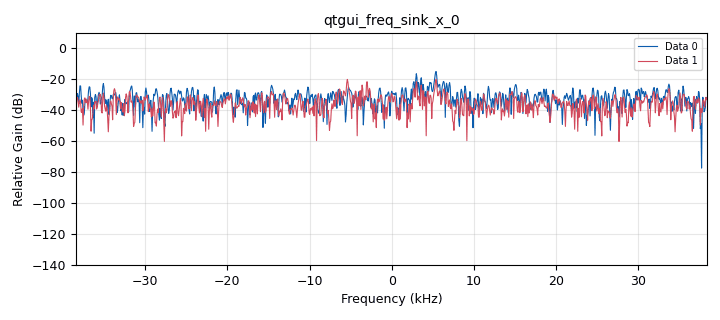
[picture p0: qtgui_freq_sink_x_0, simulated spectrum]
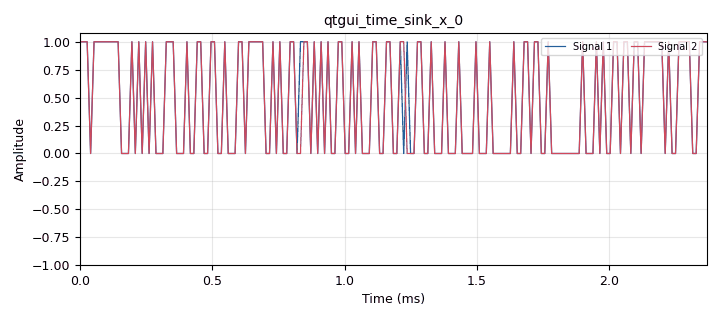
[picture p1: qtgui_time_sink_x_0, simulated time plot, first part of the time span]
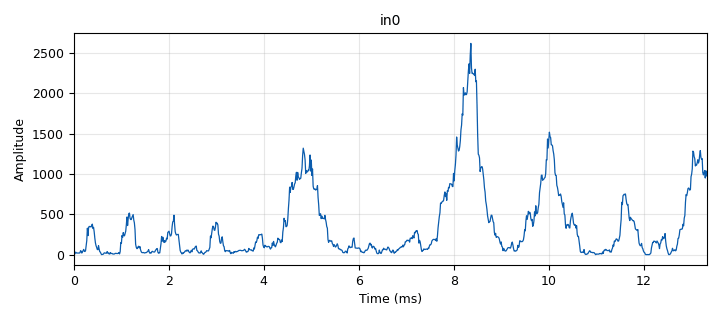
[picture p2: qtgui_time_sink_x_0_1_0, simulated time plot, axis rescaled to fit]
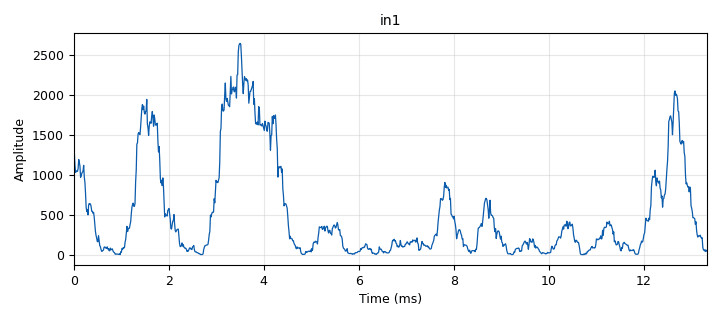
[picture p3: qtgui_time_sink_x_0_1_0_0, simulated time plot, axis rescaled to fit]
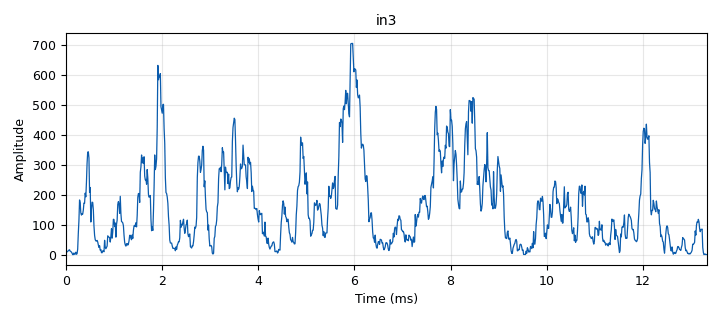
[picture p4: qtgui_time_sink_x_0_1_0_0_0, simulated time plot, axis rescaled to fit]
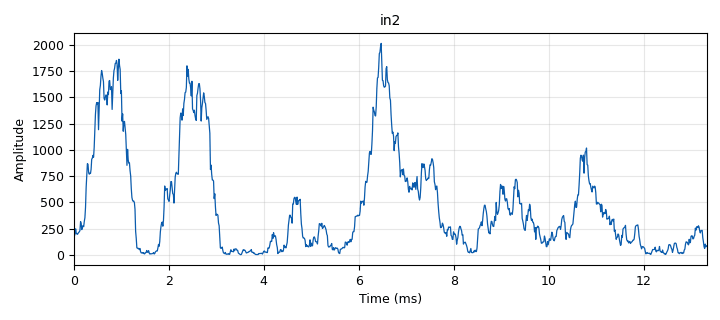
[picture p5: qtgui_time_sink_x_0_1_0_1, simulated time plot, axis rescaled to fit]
options:
  parameters:
    author: Abrar Ahmad
    generate_options: qt_gui
    id: ECE512_Lab3
    output_language: python
    title: BFSK-Tx
  states: {}

blocks:
- name: EsN0_dB
  id: variable
  parameters:
    value: '10'
  states: {}
- name: deviation
  id: variable
  parameters:
    value: symbol_rate/2
  states: {}
- name: fc
  id: variable
  parameters:
    value: '4800'
  states: {}
- name: samp_rate
  id: variable
  parameters:
    value: '76800'
  states: {}
- name: sig_pwr
  id: variable
  parameters:
    value: '1'
  states: {}
- name: symbol_rate
  id: variable
  parameters:
    value: '1200'
  states: {}
- name: analog_const_source_x_0
  id: analog_const_source_x
  parameters:
    const: '0'
    type: byte
  states: {state: disabled}
- name: analog_const_source_x_1
  id: analog_const_source_x
  parameters:
    const: '0'
    type: float
  states: {}
- name: analog_frequency_modulator_fc_0
  id: analog_frequency_modulator_fc
  parameters:
    sensitivity: 2*math.pi*deviation/samp_rate
  states: {}
- name: analog_noise_source_x_1
  id: analog_noise_source_x
  parameters:
    amp: math.sqrt( sig_pwr/ (10**(EsN0_dB/10)) * samp_rate/symbol_rate * 1/2)
    noise_type: analog.GR_GAUSSIAN
    seed: '0'
    type: complex
  states: {}
- name: analog_sig_source_x_0
  id: analog_sig_source_x
  parameters:
    amp: '1'
    freq: fc-3*deviation
    offset: '0'
    phase: '0'
    samp_rate: samp_rate
    type: complex
    waveform: analog.GR_COS_WAVE
  states: {}
- name: analog_sig_source_x_0_0
  id: analog_sig_source_x
  parameters:
    amp: '1'
    freq: fc-1*deviation
    offset: '0'
    phase: '0'
    samp_rate: samp_rate
    type: complex
    waveform: analog.GR_COS_WAVE
  states: {}
- name: analog_sig_source_x_0_0_0
  id: analog_sig_source_x
  parameters:
    amp: '1'
    freq: fc+3*deviation
    offset: '0'
    phase: '0'
    samp_rate: samp_rate
    type: complex
    waveform: analog.GR_COS_WAVE
  states: {}
- name: analog_sig_source_x_0_1
  id: analog_sig_source_x
  parameters:
    amp: '1'
    freq: fc+deviation
    offset: '0'
    phase: '0'
    samp_rate: samp_rate
    type: complex
    waveform: analog.GR_COS_WAVE
  states: {}
- name: analog_sig_source_x_1
  id: analog_sig_source_x
  parameters:
    amp: '1'
    freq: fc
    offset: '0'
    phase: '0'
    samp_rate: samp_rate
    type: complex
    waveform: analog.GR_COS_WAVE
  states: {}
- name: blocks_add_xx_0
  id: blocks_add_xx
  parameters:
    type: complex
  states: {}
- name: blocks_char_to_float_0_0
  id: blocks_char_to_float
  parameters:
    scale: '1'
  states: {}
- name: blocks_char_to_float_0_0_0
  id: blocks_char_to_float
  parameters:
    scale: '1'
  states: {}
- name: blocks_char_to_float_0_0_0_0
  id: blocks_char_to_float
  parameters:
    scale: '1'
  states: {}
- name: blocks_char_to_float_1_0
  id: blocks_char_to_float
  parameters:
    scale: '1'
  states: {state: disabled}
- name: blocks_complex_to_mag_squared_0
  id: blocks_complex_to_mag_squared
  parameters: {}
  states: {}
- name: blocks_complex_to_mag_squared_0_0
  id: blocks_complex_to_mag_squared
  parameters: {}
  states: {}
- name: blocks_complex_to_mag_squared_0_0_0
  id: blocks_complex_to_mag_squared
  parameters: {}
  states: {}
- name: blocks_complex_to_mag_squared_0_0_0_0
  id: blocks_complex_to_mag_squared
  parameters: {}
  states: {}
- name: blocks_complex_to_real_0
  id: blocks_complex_to_real
  parameters: {}
  states: {}
- name: blocks_float_to_complex_0
  id: blocks_float_to_complex
  parameters: {}
  states: {}
- name: blocks_keep_one_in_n_0
  id: blocks_keep_one_in_n
  parameters:
    n: int(samp_rate/symbol_rate)
    type: float
  states: {}
- name: blocks_keep_one_in_n_0_0
  id: blocks_keep_one_in_n
  parameters:
    n: int(samp_rate/symbol_rate)
    type: float
  states: {}
- name: blocks_keep_one_in_n_1
  id: blocks_keep_one_in_n
  parameters:
    n: int(samp_rate/symbol_rate)
    type: float
  states: {}
- name: blocks_keep_one_in_n_1_0
  id: blocks_keep_one_in_n
  parameters:
    n: int(samp_rate/symbol_rate)
    type: float
  states: {}
- name: blocks_moving_average_xx_0
  id: blocks_moving_average_xx
  parameters:
    length: int(samp_rate/symbol_rate)
    max_iter: '4000'
    scale: '1'
    type: complex
  states: {}
- name: blocks_moving_average_xx_0_0
  id: blocks_moving_average_xx
  parameters:
    length: int(samp_rate/symbol_rate)
    max_iter: '4000'
    scale: '1'
    type: complex
  states: {}
- name: blocks_moving_average_xx_0_0_0
  id: blocks_moving_average_xx
  parameters:
    length: int(samp_rate/symbol_rate)
    max_iter: '4000'
    scale: '1'
    type: complex
  states: {}
- name: blocks_moving_average_xx_0_1
  id: blocks_moving_average_xx
  parameters:
    length: int(samp_rate/symbol_rate)
    max_iter: '4000'
    scale: '1'
    type: complex
  states: {}
- name: blocks_multiply_xx_0
  id: blocks_multiply_xx
  parameters:
    type: complex
  states: {}
- name: blocks_multiply_xx_0_0
  id: blocks_multiply_xx
  parameters:
    type: complex
  states: {}
- name: blocks_multiply_xx_0_0_0
  id: blocks_multiply_xx
  parameters:
    type: complex
  states: {}
- name: blocks_multiply_xx_0_1
  id: blocks_multiply_xx
  parameters:
    type: complex
  states: {}
- name: blocks_multiply_xx_1
  id: blocks_multiply_xx
  parameters:
    type: complex
  states: {}
- name: blocks_not_xx_0
  id: blocks_not_xx
  parameters:
    type: byte
  states: {state: disabled}
- name: blocks_null_sink_0
  id: blocks_null_sink
  parameters:
    type: float
  states: {}
- name: blocks_pack_k_bits_bb_0
  id: blocks_pack_k_bits_bb
  parameters:
    k: '8'
  states: {}
- name: blocks_pack_k_bits_bb_0_0
  id: blocks_pack_k_bits_bb
  parameters:
    k: '8'
  states: {}
- name: blocks_pack_k_bits_bb_0_1
  id: blocks_pack_k_bits_bb
  parameters:
    k: '2'
  states: {}
- name: blocks_repeat_0
  id: blocks_repeat
  parameters:
    interp: int(samp_rate/symbol_rate)
    type: float
  states: {}
- name: blocks_repeat_1
  id: blocks_repeat
  parameters:
    interp: int(samp_rate/symbol_rate)
    type: float
  states: {state: disabled}
- name: blocks_repeat_1_0
  id: blocks_repeat
  parameters:
    interp: int(samp_rate/symbol_rate)
    type: byte
  states: {state: disabled}
- name: blocks_sub_xx_0
  id: blocks_sub_xx
  parameters:
    type: float
  states: {state: disabled}
- name: blocks_throttle2_1
  id: blocks_throttle2
  parameters:
    samples_per_second: samp_rate
    type: complex
  states: {}
- name: blocks_unpack_k_bits_bb_0
  id: blocks_unpack_k_bits_bb
  parameters:
    k: '8'
  states: {}
- name: blocks_unpack_k_bits_bb_0_0
  id: blocks_unpack_k_bits_bb
  parameters:
    k: '8'
  states: {}
- name: blocks_unpack_k_bits_bb_0_1
  id: blocks_unpack_k_bits_bb
  parameters:
    k: '2'
  states: {}
- name: blocks_unpack_k_bits_bb_0_1_0
  id: blocks_unpack_k_bits_bb
  parameters:
    k: '2'
  states: {state: disabled}
- name: digital_binary_slicer_fb_0
  id: digital_binary_slicer_fb
  parameters: {}
  states: {state: disabled}
- name: digital_glfsr_source_x_0
  id: digital_glfsr_source_x
  parameters:
    degree: '20'
    mask: '0'
    repeat: 'True'
    seed: '1'
    type: byte
  states: {}
- name: digital_map_bb_0
  id: digital_map_bb
  parameters:
    map: '[-3,-1,1,3]'
  states: {}
- name: epy_block_0
  id: epy_block
  parameters:
    _source_code: |
      """
      Embedded Python Blocks:

      Each time this file is saved, GRC will instantiate the first class it finds
      to get ports and parameters of your block. The arguments to __init__  will
      be the parameters. All of them are required to have default values!
      """

      import numpy as np
      from gnuradio import gr


      class blk(gr.sync_block):  # other base classes are basic_block, decim_block, interp_block
          """Embedded Python Block example - a simple multiply const"""

          def __init__(self, example_param=1.0):  # only default arguments here
              """arguments to this function show up as parameters in GRC"""
              gr.sync_block.__init__(
                  self,
                  name='Embedded Python Block',   # will show up in GRC
                  in_sig=[np.float32, np.float32, np.float32, np.float32],
                  out_sig=[np.float32, np.byte]
              )
              # if an attribute with the same name as a parameter is found,
              # a callback is registered (properties work, too).
              self.example_param = example_param

          def work(self, input_items, output_items):
              # Transpose the input items to process samples from all four branches together
              inputs = np.vstack(input_items)

              # Find the maximum value and its index for each sample
              max_values = np.max(inputs, axis=0)
              max_indices = np.argmax(inputs, axis=0)

              # Assign the results to the output items
              output_items[0][:] = max_values
              output_items[1][:] = max_indices

              return len(output_items[0])
    example_param: '1.0'
  states: {}
- name: fec_ber_bf_0
  id: fec_ber_bf
  parameters:
    test_mode: 'False'
  states: {}
- name: import_0
  id: import
  parameters:
    imports: import math
  states: {}
- name: import_0_0
  id: import
  parameters:
    imports: import numpy as np
  states: {}
- name: qtgui_freq_sink_x_0
  id: qtgui_freq_sink_x
  parameters:
    bw: samp_rate
    fc: '0'
    fftsize: '1024'
    nconnections: '2'
    type: complex
  states: {}
- name: qtgui_number_sink_0
  id: qtgui_number_sink
  parameters:
    graph_type: qtgui.NUM_GRAPH_HORIZ
    type: float
  states: {}
- name: qtgui_time_sink_x_0
  id: qtgui_time_sink_x
  parameters:
    ctrlpanel: 'True'
    nconnections: '2'
    size: '1024'
    srate: samp_rate
    type: float
  states: {}
- name: qtgui_time_sink_x_0_0
  id: qtgui_time_sink_x
  parameters:
    ctrlpanel: 'True'
    nconnections: '2'
    size: '1024'
    srate: samp_rate
    type: float
  states: {state: disabled}
- name: qtgui_time_sink_x_0_1
  id: qtgui_time_sink_x
  parameters:
    ctrlpanel: 'True'
    size: '1024'
    srate: samp_rate
    type: float
  states: {state: disabled}
- name: qtgui_time_sink_x_0_1_0
  id: qtgui_time_sink_x
  parameters:
    ctrlpanel: 'True'
    name: in0
    size: '1024'
    srate: samp_rate
    type: float
  states: {}
- name: qtgui_time_sink_x_0_1_0_0
  id: qtgui_time_sink_x
  parameters:
    ctrlpanel: 'True'
    name: in1
    size: '1024'
    srate: samp_rate
    type: float
  states: {}
- name: qtgui_time_sink_x_0_1_0_0_0
  id: qtgui_time_sink_x
  parameters:
    ctrlpanel: 'True'
    name: in3
    size: '1024'
    srate: samp_rate
    type: float
  states: {}
- name: qtgui_time_sink_x_0_1_0_1
  id: qtgui_time_sink_x
  parameters:
    ctrlpanel: 'True'
    name: in2
    size: '1024'
    srate: samp_rate
    type: float
  states: {}
- name: virtual_sink_0
  id: virtual_sink
  parameters: {}
  states: {}
- name: virtual_source_0
  id: virtual_source
  parameters: {}
  states: {}

connections:
- [analog_const_source_x_0, '0', blocks_unpack_k_bits_bb_0_1_0, '0']
- [analog_const_source_x_0, '0', digital_map_bb_0, '0']
- [analog_const_source_x_1, '0', blocks_float_to_complex_0, '1']
- [analog_frequency_modulator_fc_0, '0', blocks_add_xx_0, '1']
- [analog_noise_source_x_1, '0', blocks_throttle2_1, '0']
- [analog_sig_source_x_0, '0', blocks_multiply_xx_0, '0']
- [analog_sig_source_x_0_0, '0', blocks_multiply_xx_0_0, '0']
- [analog_sig_source_x_0_0_0, '0', blocks_multiply_xx_0_0_0, '0']
- [analog_sig_source_x_0_1, '0', blocks_multiply_xx_0_1, '0']
- [analog_sig_source_x_1, '0', blocks_multiply_xx_1, '1']
- [blocks_add_xx_0, '0', blocks_multiply_xx_1, '0']
- [blocks_char_to_float_0_0, '0', blocks_repeat_0, '0']
- [blocks_char_to_float_0_0_0, '0', qtgui_time_sink_x_0, '0']
- [blocks_char_to_float_0_0_0_0, '0', qtgui_time_sink_x_0, '1']
- [blocks_char_to_float_1_0, '0', qtgui_time_sink_x_0_0, '1']
- [blocks_complex_to_mag_squared_0, '0', blocks_keep_one_in_n_1, '0']
- [blocks_complex_to_mag_squared_0, '0', qtgui_time_sink_x_0_1_0_1, '0']
- [blocks_complex_to_mag_squared_0_0, '0', blocks_keep_one_in_n_0, '0']
- [blocks_complex_to_mag_squared_0_0, '0', qtgui_time_sink_x_0_1_0, '0']
- [blocks_complex_to_mag_squared_0_0_0, '0', blocks_keep_one_in_n_1_0, '0']
- [blocks_complex_to_mag_squared_0_0_0, '0', qtgui_time_sink_x_0_1_0_0_0, '0']
- [blocks_complex_to_mag_squared_0_0_0_0, '0', blocks_keep_one_in_n_0_0, '0']
- [blocks_complex_to_mag_squared_0_0_0_0, '0', qtgui_time_sink_x_0_1_0_0, '0']
- [blocks_complex_to_real_0, '0', virtual_sink_0, '0']
- [blocks_float_to_complex_0, '0', blocks_multiply_xx_0, '1']
- [blocks_float_to_complex_0, '0', blocks_multiply_xx_0_0, '1']
- [blocks_float_to_complex_0, '0', blocks_multiply_xx_0_0_0, '1']
- [blocks_float_to_complex_0, '0', blocks_multiply_xx_0_1, '1']
- [blocks_float_to_complex_0, '0', qtgui_freq_sink_x_0, '1']
- [blocks_keep_one_in_n_0, '0', epy_block_0, '0']
- [blocks_keep_one_in_n_0_0, '0', blocks_sub_xx_0, '0']
- [blocks_keep_one_in_n_0_0, '0', epy_block_0, '1']
- [blocks_keep_one_in_n_1, '0', blocks_sub_xx_0, '1']
- [blocks_keep_one_in_n_1, '0', epy_block_0, '2']
- [blocks_keep_one_in_n_1_0, '0', epy_block_0, '3']
- [blocks_moving_average_xx_0, '0', blocks_complex_to_mag_squared_0_0, '0']
- [blocks_moving_average_xx_0_0, '0', blocks_complex_to_mag_squared_0_0_0_0, '0']
- [blocks_moving_average_xx_0_0_0, '0', blocks_complex_to_mag_squared_0_0_0, '0']
- [blocks_moving_average_xx_0_1, '0', blocks_complex_to_mag_squared_0, '0']
- [blocks_multiply_xx_0, '0', blocks_moving_average_xx_0, '0']
- [blocks_multiply_xx_0_0, '0', blocks_moving_average_xx_0_0, '0']
- [blocks_multiply_xx_0_0_0, '0', blocks_moving_average_xx_0_0_0, '0']
- [blocks_multiply_xx_0_1, '0', blocks_moving_average_xx_0_1, '0']
- [blocks_multiply_xx_1, '0', blocks_complex_to_real_0, '0']
- [blocks_multiply_xx_1, '0', qtgui_freq_sink_x_0, '0']
- [blocks_not_xx_0, '0', blocks_unpack_k_bits_bb_0_1, '0']
- [blocks_pack_k_bits_bb_0, '0', blocks_unpack_k_bits_bb_0_0, '0']
- [blocks_pack_k_bits_bb_0, '0', fec_ber_bf_0, '0']
- [blocks_pack_k_bits_bb_0_0, '0', blocks_unpack_k_bits_bb_0, '0']
- [blocks_pack_k_bits_bb_0_0, '0', fec_ber_bf_0, '1']
- [blocks_pack_k_bits_bb_0_1, '0', digital_map_bb_0, '0']
- [blocks_repeat_0, '0', analog_frequency_modulator_fc_0, '0']
- [blocks_repeat_0, '0', qtgui_time_sink_x_0_1, '0']
- [blocks_repeat_1, '0', qtgui_time_sink_x_0_0, '0']
- [blocks_repeat_1_0, '0', blocks_char_to_float_1_0, '0']
- [blocks_sub_xx_0, '0', digital_binary_slicer_fb_0, '0']
- [blocks_throttle2_1, '0', blocks_add_xx_0, '0']
- [blocks_unpack_k_bits_bb_0, '0', blocks_char_to_float_0_0_0_0, '0']
- [blocks_unpack_k_bits_bb_0_0, '0', blocks_char_to_float_0_0_0, '0']
- [blocks_unpack_k_bits_bb_0_1, '0', blocks_pack_k_bits_bb_0_0, '0']
- [blocks_unpack_k_bits_bb_0_1_0, '0', blocks_pack_k_bits_bb_0, '0']
- [digital_binary_slicer_fb_0, '0', blocks_pack_k_bits_bb_0_0, '0']
- [digital_glfsr_source_x_0, '0', blocks_pack_k_bits_bb_0, '0']
- [digital_glfsr_source_x_0, '0', blocks_pack_k_bits_bb_0_1, '0']
- [digital_map_bb_0, '0', blocks_char_to_float_0_0, '0']
- [epy_block_0, '0', blocks_null_sink_0, '0']
- [epy_block_0, '0', blocks_repeat_1, '0']
- [epy_block_0, '1', blocks_not_xx_0, '0']
- [epy_block_0, '1', blocks_repeat_1_0, '0']
- [epy_block_0, '1', blocks_unpack_k_bits_bb_0_1, '0']
- [fec_ber_bf_0, '0', qtgui_number_sink_0, '0']
- [virtual_source_0, '0', blocks_float_to_complex_0, '0']

metadata:
  file_format: 1
  grc_version: 3.10.10.0
